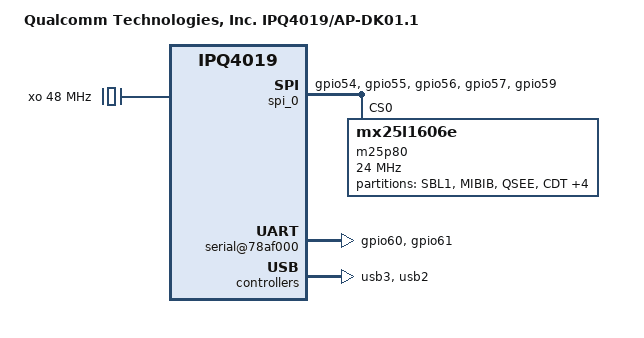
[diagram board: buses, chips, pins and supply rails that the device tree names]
/* Copyright (c) 2015, The Linux Foundation. All rights reserved.
 *
 * Permission to use, copy, modify, and/or distribute this software for any
 * purpose with or without fee is hereby granted, provided that the above
 * copyright notice and this permission notice appear in all copies.
 *
 * THE SOFTWARE IS PROVIDED "AS IS" AND THE AUTHOR DISCLAIMS ALL WARRANTIES
 * WITH REGARD TO THIS SOFTWARE INCLUDING ALL IMPLIED WARRANTIES OF
 * MERCHANTABILITY AND FITNESS. IN NO EVENT SHALL THE AUTHOR BE LIABLE FOR
 * ANY SPECIAL, DIRECT, INDIRECT, OR CONSEQUENTIAL DAMAGES OR ANY DAMAGES
 * WHATSOEVER RESULTING FROM LOSS OF USE, DATA OR PROFITS, WHETHER IN AN
 * ACTION OF CONTRACT, NEGLIGENCE OR OTHER TORTIOUS ACTION, ARISING OUT OF
 * OR IN CONNECTION WITH THE USE OR PERFORMANCE OF THIS SOFTWARE.
 *
 */

#include "qcom-ipq4019.dtsi"

/ {
	model = "Qualcomm Technologies, Inc. IPQ4019/AP-DK01.1";
	compatible = "qcom,ipq4019";

	clocks {
                xo: xo {
                        compatible = "fixed-clock";
                        clock-frequency = <48000000>;
                        #clock-cells = <0>;
                };
	};

	soc {


		timer {
			compatible = "arm,armv7-timer";
			interrupts = <1 2 0xf08>,
				     <1 3 0xf08>,
				     <1 4 0xf08>,
				     <1 1 0xf08>;
			clock-frequency = <48000000>;
		};

		pinctrl@0x01000000 {
			mdio_pins: mdio_pinmux {
				mux_1 {
					pins = "gpio53";
					function = "mdio1";
					bias-pull-up;
				};
				mux_2 {
					pins = "gpio52";
					function = "mdc";
					bias-pull-up;
				};
			};

			serial_pins: serial_pinmux {
				mux {
					pins = "gpio60", "gpio61";
					function = "blsp_uart0";
					bias-disable;
				};
			};

			spi_0_pins: spi_0_pinmux {
				pinmux {
					function = "blsp_spi0";
					pins = "gpio54", "gpio55", "gpio56", "gpio57";
				};
				pinmux_cs {
					function = "gpio";
					pins = "gpio59";
				};
				pinconf {
					pins =  "gpio54", "gpio55", "gpio56", "gpio57";
					/*drive-strength = <12>;*/
					bias-disable;
				};
				pinconf_cs {
					pins = "gpio59";
					/*drive-strength = <2>;*/
					/*bias-disable;*/
					/*output-high;*/
					bias-pull-up;
				};
			};
		};

		blsp_dma: dma@7884000 {
			status = "disabled";
		};
		
		qcom,sps {
			compatible = "qcom,msm_sps_4k";
			qcom,device-type = <3>;
			qcom,pipe-attr-ee;
		};

		spi_0: spi@78b5000 {
			pinctrl-0 = <&spi_0_pins>;
			pinctrl-names = "default";
			status = "ok";
			
			
			compatible = "qcom,spi-qup-v2";
			#address-cells = <1>;
			#size-cells = <0>;
			reg-names = "spi_physical", "spi_bam_physical";
			reg = <0x78b5000 0x600>,
				<0x7884000 0x23000>;
			interrupt-names = "spi_irq", "spi_bam_irq";
			interrupts = <0 95 0>, <0 238 0>;
			spi-max-frequency = <24000000>;
			clocks = <&gcc GCC_BLSP1_QUP1_SPI_APPS_CLK>,
				<&gcc GCC_BLSP1_AHB_CLK>;
			clock-names = "core_clk", "iface_clk";
			qcom,infinite-mode = <0>;
			qcom,use-bam;
			qcom,bam-consumer-pipe-index = <4>;
			qcom,bam-producer-pipe-index = <5>;
			qcom,master-id = <0>;
			
			qcom,gpio-cs1 = <&tlmm 59 0>;
			
			/*cs-gpios = <&tlmm 54 0>,
					<&tlmm 59 0>;*/

			mx25l25635e@0 {
				status = "disabled";
			};

			m25p80@0 {
				#address-cells = <1>;
				#size-cells = <0>;
				reg = <0>;
				compatible = "mx25l1606e", "n25q128a11";
				linux,modalias = "m25p80", "mx25l1606e", "n25q128a11";
				spi-max-frequency = <24000000>;
				partitions {
					compatible = "fixed-partitions";
					#address-cells = <1>;
					#size-cells = <1>;

					partition0@0 {
						label = "SBL1";
						reg = <0x00000000 0x00040000>;
						read-only;
					};
					partition1@40000 {
						label = "MIBIB";
						reg = <0x00040000 0x00020000>;
						read-only;
					};
					partition2@60000 {
						label = "QSEE";
						reg = <0x00060000 0x00060000>;
						read-only;
					};
					partition3@c0000 {
						label = "CDT";
						reg = <0x000c0000 0x00010000>;
						read-only;
					};
					partition4@d0000 {
						label = "DDRPARAMS";
						reg = <0x000d0000 0x00010000>;
						read-only;
					};
					partition5@e0000 {
						label = "APPSBLENV"; /* uboot env*/
						reg = <0x000e0000 0x00010000>;
						read-only;
					};
					partition5@f0000 {
						label = "APPSBL"; /* uboot */
						reg = <0x000f0000 0x00080000>;
						read-only;
					};
					partition5@170000 {
						label = "ART";
						reg = <0x00170000 0x00010000>;
						read-only;
					};

				};
			};

			mt29f@1 {
				status = "disabled";
				#address-cells = <1>;
				#size-cells = <0>;
				compatible = "spinand,mt29f", "w25n01gv";
				reg = <1>;
				spi-max-frequency = <24000000>;

				partitions {
					compatible = "fixed-partitions";
					#address-cells = <1>;
					#size-cells = <1>;

					partition0@0 {
						label = "ubi";
						reg = <0x00000000 0x08000000>;
					};
				};
			};
		};
		
		ess-switch@c000000 {
			status = "ok";
		};

		serial@78af000 {
			pinctrl-0 = <&serial_pins>;
			pinctrl-names = "default";
			status = "ok";
		};

		cryptobam: dma@8e04000 {
			status = "ok";
		};

		crypto@8e3a000 {
			status = "ok";
		};

		watchdog@b017000 {
			status = "ok";
		};

		usb3_ss_phy: ssphy@9a000 {
			status = "ok";
		};

		usb3_hs_phy: hsphy@a6000 {
			status = "ok";
		};

		usb3: usb3@8af8800 {
			status = "ok";
		};

		usb2_hs_phy: hsphy@a8000 {
			status = "ok";
		};

		usb2: usb2@60f8800 {
			status = "ok";
		};

		usb3_ss_phy: ssphy@9a000 {
			status = "ok";
		};

		usb3_hs_phy: hsphy@a6000 {
			status = "ok";
		};

		usb3: usb3@8af8800 {
			status = "ok";
		};

		usb2_hs_phy: hsphy@a8000 {
			status = "ok";
		};

		usb2: usb2@60f8800 {
			status = "ok";
		};
	};
};
